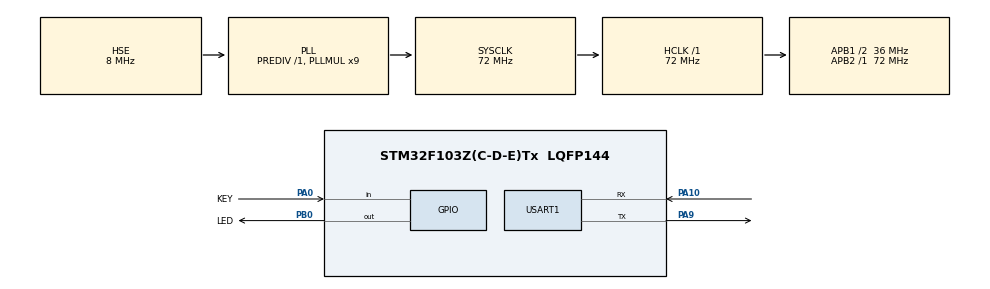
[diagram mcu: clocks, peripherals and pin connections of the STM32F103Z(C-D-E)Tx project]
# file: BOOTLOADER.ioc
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Mcu.Family=STM32F1
Mcu.Name=STM32F103Z(C-D-E)Tx
Mcu.Package=LQFP144
NVIC.PriorityGroup=NVIC_PRIORITYGROUP_4
NVIC.USART1_IRQn=true\:0\:0\:false\:false\:true\:true\:true\:true
OSC_IN.Mode=HSE-External-Oscillator
OSC_IN.Signal=RCC_OSC_IN
OSC_OUT.Mode=HSE-External-Oscillator
OSC_OUT.Signal=RCC_OSC_OUT
PA0-WKUP.GPIO_Label=KEY
PA0-WKUP.Signal=GPIO_Input
PA10.Mode=Asynchronous
PA10.Signal=USART1_RX
PA13.Mode=Serial_Wire
PA13.Signal=SYS_JTMS-SWDIO
PA14.Mode=Serial_Wire
PA14.Signal=SYS_JTCK-SWCLK
PA9.Mode=Asynchronous
PA9.Signal=USART1_TX
PB0.GPIO_Label=LED
PB0.Signal=GPIO_Output
ProjectManager.HeapSize=0x200
ProjectManager.StackSize=0x400
ProjectManager.TargetToolchain=MDK-ARM V5.32
RCC.AHBFreq_Value=72000000
RCC.APB1CLKDivider=RCC_HCLK_DIV2
RCC.APB1Freq_Value=36000000
RCC.APB1TimFreq_Value=72000000
RCC.APB2Freq_Value=72000000
RCC.APB2TimFreq_Value=72000000
RCC.HCLKFreq_Value=72000000
RCC.PLLMUL=RCC_PLL_MUL9
RCC.PLLSourceVirtual=RCC_PLLSOURCE_HSE
RCC.SYSCLKFreq_VALUE=72000000
RCC.SYSCLKSource=RCC_SYSCLKSOURCE_PLLCLK
RCC.USBFreq_Value=72000000
USART1.VirtualMode=VM_ASYNC
board=custom

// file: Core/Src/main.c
/* USER CODE BEGIN Header */
/**
  ******************************************************************************
  * @file           : main.c
  * @brief          : Main program body
  ******************************************************************************
  * @attention
  *
  * Copyright (c) 2026 STMicroelectronics.
  * All rights reserved.
  *
  * This software is licensed under terms that can be found in the LICENSE file
  * in the root directory of this software component.
  * If no LICENSE file comes with this software, it is provided AS-IS.
  *
  ******************************************************************************
  */
/* USER CODE END Header */
#include "main.h"
#include "usart.h"
#include "gpio.h"

/* USER CODE BEGIN Includes */
#include "header.h"
/* USER CODE END Includes */

void SystemClock_Config(void);

/* USER CODE BEGIN 0 */
/* ######################### 功能说明 #########################
   1. 正常运行 APP 业务逻辑
   2. 串口收到指令 "OTA" → 立刻停止任务 → 进入 Ymodem 升级
   3. 升级完成自动跳转新 APP
############################################################# */

// 串口接收缓存
#define RX_BUF_SIZE 128

uint8_t  uart_rx_buf[RX_BUF_SIZE];  // 接收缓存
uint16_t uart_rx_cnt = 0;           // 接收计数
uint8_t uart_data = 0;
uint8_t OTA_FLAG = 0;

// 函数前置声明
void System_EnterUpgradeMode(void);
void OTA_CheckCommand(uint8_t *data, uint16_t len);
void Error_Handler(void);
/* USER CODE END 0 */

int main(void)
{

  /* MCU Configuration--------------------------------------------------------*/

  /* Reset of all peripherals, Initializes the Flash interface and the Systick. */
  HAL_Init();

  /* Configure the system clock */
  SystemClock_Config();

  /* Initialize all configured peripherals */
  MX_GPIO_Init();
  MX_USART1_UART_Init();
  /* USER CODE BEGIN 2 */
	// 初始化参数区（校验魔术字和校验和）
	if (inter_flash_cfg_init() != 0) {
			// 参数区损坏，可能需要擦除重建，这里简单进入升级模式
			printf("Param sector error, enter upgrade...\r\n");
			System_EnterUpgradeMode();
	}
	// 检查 OTA 升级标志
	int8_t ota_flag = inter_flash_cfg_get_app_update_flag();
	if (ota_flag == 1) {
			printf("OTA flag set, enter upgrade mode...\r\n");
			System_EnterUpgradeMode();   // 升级成功后清除标志并跳转 APP
	} else {
			printf("Jump to application...\r\n");
			Jump_To_App();
	}
  /* USER CODE END 2 */

  /* Infinite loop */
  while (1)
  {

  }
}

void SystemClock_Config(void)
{
  RCC_OscInitTypeDef RCC_OscInitStruct = {0};
  RCC_ClkInitTypeDef RCC_ClkInitStruct = {0};

  /** Initializes the RCC Oscillators according to the specified parameters
  * in the RCC_OscInitTypeDef structure.
  */
  RCC_OscInitStruct.OscillatorType = RCC_OSCILLATORTYPE_HSE;
  RCC_OscInitStruct.HSEState = RCC_HSE_ON;
  RCC_OscInitStruct.HSEPredivValue = RCC_HSE_PREDIV_DIV1;
  RCC_OscInitStruct.HSIState = RCC_HSI_ON;
  RCC_OscInitStruct.PLL.PLLState = RCC_PLL_ON;
  RCC_OscInitStruct.PLL.PLLSource = RCC_PLLSOURCE_HSE;
  RCC_OscInitStruct.PLL.PLLMUL = RCC_PLL_MUL9;
  if (HAL_RCC_OscConfig(&RCC_OscInitStruct) != HAL_OK)
  {
    Error_Handler();
  }

  /** Initializes the CPU, AHB and APB buses clocks
  */
  RCC_ClkInitStruct.ClockType = RCC_CLOCKTYPE_HCLK|RCC_CLOCKTYPE_SYSCLK
                              |RCC_CLOCKTYPE_PCLK1|RCC_CLOCKTYPE_PCLK2;
  RCC_ClkInitStruct.SYSCLKSource = RCC_SYSCLKSOURCE_PLLCLK;
  RCC_ClkInitStruct.AHBCLKDivider = RCC_SYSCLK_DIV1;
  RCC_ClkInitStruct.APB1CLKDivider = RCC_HCLK_DIV2;
  RCC_ClkInitStruct.APB2CLKDivider = RCC_HCLK_DIV1;

  if (HAL_RCC_ClockConfig(&RCC_ClkInitStruct, FLASH_LATENCY_2) != HAL_OK)
  {
    Error_Handler();
  }
}

/* USER CODE BEGIN 4 */
// ###########################################################################
// ######################### 核心：进入升级模式 ##############################
// ###########################################################################
void System_EnterUpgradeMode(void)
{
    printf("\r\n=========================================\r\n");
    printf("     IAP Bootloader - Ymodem Receive\r\n");
    printf("=========================================\r\n");

    // 清理串口残留
    HAL_UART_AbortReceive_IT(&huart1);
    while (__HAL_UART_GET_FLAG(&huart1, UART_FLAG_RXNE)) {
        (void)huart1.Instance->DR;
    }
    uint32_t filesize = 0;
    COM_StatusTypeDef err = Ymodem_Receive(&filesize);

    if (err == COM_OK) {
        printf("Firmware received successfully!\r\n");
        // 清除 OTA 标志
        inter_flash_cfg_set_app_update_flag(0);
        printf("OTA flag cleared. Jump to new application...\r\n");
        HAL_Delay(100);
        __disable_irq();
        HAL_SuspendTick();
        Jump_To_App();
    } else {
        printf("Ymodem receive failed, error code: %d\r\n", err);
        HAL_Delay(500);
        NVIC_SystemReset();
    }
    while(1);
}

// ###########################################################################
// ####################### OTA指令检测（收到OTA就升级）########################
// ###########################################################################
void OTA_CheckCommand(uint8_t *data, uint16_t len)
{
    if (len == 0) return;

    // 收到指令：OTA → 进入升级
    if (strstr((char *)data, "OTA") != NULL)
    {
        printf("APP：收到升级指令，准备切换升级模式...\r\n");
				printf("data:%s",data);
				OTA_FLAG = 1;
    }
}

void HAL_UART_RxCpltCallback(UART_HandleTypeDef *huart)
{
    if(huart->Instance == USART1)
    {
        uint8_t ch = uart_rx_buf[uart_rx_cnt];

        if(ch == '\r' || ch == '\n')
        {
            if(uart_rx_cnt > 0)
            {
                uart_rx_buf[uart_rx_cnt] = '\0';
								OTA_CheckCommand(uart_rx_buf, uart_rx_cnt);

                uart_rx_cnt = 0;
            }
        }
        else
        {
            // 增加边界判断，避免数组越界
            if(uart_rx_cnt < RX_BUF_SIZE-1)
            {
                uart_rx_cnt++;
            }
            // 超出边界则重置计数
            else
            {
                uart_rx_cnt = 0;
            }
        }

        // 重新开启中断时，确保地址不越界
        HAL_UART_Receive_IT(&huart1, &uart_rx_buf[uart_rx_cnt], 1);
    }
}
/* USER CODE END 4 */

void Error_Handler(void)
{
  __disable_irq();
  while (1)
  {
  }
}
